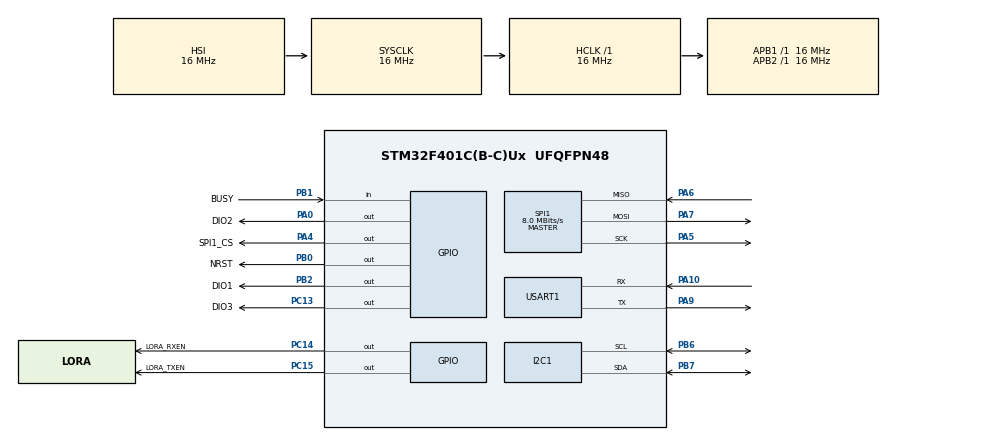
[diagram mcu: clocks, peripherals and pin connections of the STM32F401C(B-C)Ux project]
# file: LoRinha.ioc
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Mcu.Family=STM32F4
Mcu.Name=STM32F401C(B-C)Ux
Mcu.Package=UFQFPN48
NVIC.PriorityGroup=NVIC_PRIORITYGROUP_4
PA0-WKUP.GPIO_Label=DIO2
PA0-WKUP.Signal=GPIO_Output
PA10.Mode=Asynchronous
PA10.Signal=USART1_RX
PA4.GPIO_Label=SPI1_CS
PA4.Signal=GPIO_Output
PA5.Mode=Full_Duplex_Master
PA5.Signal=SPI1_SCK
PA6.Mode=Full_Duplex_Master
PA6.Signal=SPI1_MISO
PA7.Mode=Full_Duplex_Master
PA7.Signal=SPI1_MOSI
PA9.Mode=Asynchronous
PA9.Signal=USART1_TX
PB0.GPIO_Label=NRST
PB0.Signal=GPIO_Output
PB1.GPIO_Label=BUSY
PB1.Signal=GPIO_Input
PB2.GPIO_Label=DIO1
PB2.Signal=GPIO_Output
PB6.Mode=I2C
PB6.Signal=I2C1_SCL
PB7.Mode=I2C
PB7.Signal=I2C1_SDA
PC13-ANTI_TAMP.GPIO_Label=DIO3
PC13-ANTI_TAMP.Signal=GPIO_Output
PC14-OSC32_IN.GPIO_Label=LORA_RXEN
PC14-OSC32_IN.Signal=GPIO_Output
PC15-OSC32_OUT.GPIO_Label=LORA_TXEN
PC15-OSC32_OUT.Signal=GPIO_Output
ProjectManager.HeapSize=0x200
ProjectManager.StackSize=0x400
ProjectManager.TargetToolchain=STM32CubeIDE
RCC.AHBFreq_Value=16000000
RCC.APB1Freq_Value=16000000
RCC.APB2Freq_Value=16000000
RCC.CortexFreq_Value=16000000
RCC.HSE_VALUE=25000000
RCC.HSI_VALUE=16000000
RCC.LSE_VALUE=32768
RCC.SYSCLKFreq_VALUE=16000000
RCC.VCOOutputFreq_Value=192000000
SPI1.CalculateBaudRate=8.0 MBits/s
SPI1.Direction=SPI_DIRECTION_2LINES
SPI1.Mode=SPI_MODE_MASTER
SPI1.VirtualType=VM_MASTER
USART1.VirtualMode=VM_ASYNC
board=custom

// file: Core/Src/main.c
/* USER CODE BEGIN Header */
/**
  ******************************************************************************
  * @file           : main.c
  * @brief          : Main program body
  ******************************************************************************
  * @attention
  *
  * Copyright (c) 2024 STMicroelectronics.
  * All rights reserved.
  *
  * This software is licensed under terms that can be found in the LICENSE file
  * in the root directory of this software component.
  * If no LICENSE file comes with this software, it is provided AS-IS.
  *
  ******************************************************************************
  */
/* USER CODE END Header */
#include "main.h"

#include "driver_llcc68_lora.h"

I2C_HandleTypeDef hi2c1;

SPI_HandleTypeDef hspi1;

UART_HandleTypeDef huart1;

/* USER CODE BEGIN PV */
uint8_t (*g_gpio_irq)(void) = NULL;
uint8_t res;
/* USER CODE END PV */

void SystemClock_Config(void);
static void MX_GPIO_Init(void);
static void MX_I2C1_Init(void);
static void MX_SPI1_Init(void);
static void MX_USART1_UART_Init(void);
/* USER CODE BEGIN PFP */
static uint8_t gs_rx_done;
static void a_callback(uint16_t type, uint8_t *buf, uint16_t len)
{
    switch (type)
    {
        case LLCC68_IRQ_TX_DONE :
        {
            llcc68_interface_debug_print("llcc68: irq tx done.\n");

            break;
        }
        case LLCC68_IRQ_RX_DONE :
        {
            uint16_t i;
            llcc68_bool_t enable;
            float rssi;
            float snr;

            llcc68_interface_debug_print("llcc68: irq rx done.\n");

            /* get the status */
            if (llcc68_lora_get_status((float *)&rssi, (float *)&snr) != 0)
            {
                return;
            }
            llcc68_interface_debug_print("llcc68: rssi is %0.1f.\n", rssi);
            llcc68_interface_debug_print("llcc68: snr is %0.2f.\n", snr);

            /* check the error */
            if (llcc68_lora_check_packet_error(&enable) != 0)
            {
                return;
            }
            if ((enable == LLCC68_BOOL_FALSE) && len)
            {
                for (i = 0; i < len; i++)
                {
                    llcc68_interface_debug_print("%c", buf[i]);
                }
                llcc68_interface_debug_print("\n");
                gs_rx_done = 1;
            }

            break;
        }
        case LLCC68_IRQ_PREAMBLE_DETECTED :
        {
            llcc68_interface_debug_print("llcc68: irq preamble detected.\n");

            break;
        }
        case LLCC68_IRQ_SYNC_WORD_VALID :
        {
            llcc68_interface_debug_print("llcc68: irq valid sync word detected.\n");

            break;
        }
        case LLCC68_IRQ_HEADER_VALID :
        {
            llcc68_interface_debug_print("llcc68: irq valid header.\n");

            break;
        }
        case LLCC68_IRQ_HEADER_ERR :
        {
            llcc68_interface_debug_print("llcc68: irq header error.\n");

            break;
        }
        case LLCC68_IRQ_CRC_ERR :
        {
            llcc68_interface_debug_print("llcc68: irq crc error.\n");

            break;
        }
        case LLCC68_IRQ_CAD_DONE :
        {
            llcc68_interface_debug_print("llcc68: irq cad done.\n");

            break;
        }
        case LLCC68_IRQ_CAD_DETECTED :
        {
            llcc68_interface_debug_print("llcc68: irq cad detected.\n");

            break;
        }
        case LLCC68_IRQ_TIMEOUT :
        {
            llcc68_interface_debug_print("llcc68: irq timeout.\n");

            break;
        }
        default :
        {
            break;
        }
    }

}
/* USER CODE END PFP */

/* USER CODE BEGIN 0 */
uint8_t TX_Data[] = "Funciona c4ra1h0";
// teoricamente essa 'TX_Data' é pra ser a variável a ser enviada.
/* USER CODE END 0 */

int main(void)
{

  /* USER CODE BEGIN 1 */

/* gpio init */
res = gpio_interrupt_init();
if (res != 0)
{
    return 1;
}
g_gpio_irq = llcc68_lora_irq_handler;

/* lora init */
res = llcc68_lora_init(a_callback);
if (res != 0)
{
    (void)gpio_interrupt_deinit();
    g_gpio_irq = NULL;

    return 1;

}

/* set sent mode */
res = llcc68_lora_set_sent_mode();
if (res != 0)
{
    (void)llcc68_lora_deinit();
    (void)gpio_interrupt_deinit();
    g_gpio_irq = NULL;

    return 1;

}

llcc68_interface_debug_print("llcc68: sent %s.\n", "123");

/* sent data */
res = llcc68_lora_sent((uint8_t *)"123", strlen("123"));
if (res != 0)
{
    (void)llcc68_lora_deinit();
    (void)gpio_interrupt_deinit();
    g_gpio_irq = NULL;

    return 1;

}

/* deinit */
res = llcc68_lora_deinit();
if (res != 0)
{
    (void)gpio_interrupt_deinit();
    g_gpio_irq = NULL;

    return 1;

}
(void)gpio_interrupt_deinit();
g_gpio_irq = NULL;

return 0;
  /* USER CODE END 1 */

  /* MCU Configuration--------------------------------------------------------*/

  /* Reset of all peripherals, Initializes the Flash interface and the Systick. */
  HAL_Init();

  /* Configure the system clock */
  SystemClock_Config();

  /* Initialize all configured peripherals */
  MX_GPIO_Init();
  MX_I2C1_Init();
  MX_SPI1_Init();
  MX_USART1_UART_Init();
  /* USER CODE BEGIN 2 */
  HAL_SPI_Transmit_DMA(&hspi1, TX_Data, sizeof(TX_Data));
  //HAL API melhor aplicável ao projeto responsável pela transmissão SPI.
  /* USER CODE END 2 */

  /* Infinite loop */
  while (1)
  {

  }
}

void SystemClock_Config(void)
{
  RCC_OscInitTypeDef RCC_OscInitStruct = {0};
  RCC_ClkInitTypeDef RCC_ClkInitStruct = {0};

  /** Configure the main internal regulator output voltage
  */
  __HAL_RCC_PWR_CLK_ENABLE();
  __HAL_PWR_VOLTAGESCALING_CONFIG(PWR_REGULATOR_VOLTAGE_SCALE2);

  /** Initializes the RCC Oscillators according to the specified parameters
  * in the RCC_OscInitTypeDef structure.
  */
  RCC_OscInitStruct.OscillatorType = RCC_OSCILLATORTYPE_HSI;
  RCC_OscInitStruct.HSIState = RCC_HSI_ON;
  RCC_OscInitStruct.HSICalibrationValue = RCC_HSICALIBRATION_DEFAULT;
  RCC_OscInitStruct.PLL.PLLState = RCC_PLL_NONE;
  if (HAL_RCC_OscConfig(&RCC_OscInitStruct) != HAL_OK)
  {
    Error_Handler();
  }

  /** Initializes the CPU, AHB and APB buses clocks
  */
  RCC_ClkInitStruct.ClockType = RCC_CLOCKTYPE_HCLK|RCC_CLOCKTYPE_SYSCLK
                              |RCC_CLOCKTYPE_PCLK1|RCC_CLOCKTYPE_PCLK2;
  RCC_ClkInitStruct.SYSCLKSource = RCC_SYSCLKSOURCE_HSI;
  RCC_ClkInitStruct.AHBCLKDivider = RCC_SYSCLK_DIV1;
  RCC_ClkInitStruct.APB1CLKDivider = RCC_HCLK_DIV1;
  RCC_ClkInitStruct.APB2CLKDivider = RCC_HCLK_DIV1;

  if (HAL_RCC_ClockConfig(&RCC_ClkInitStruct, FLASH_LATENCY_0) != HAL_OK)
  {
    Error_Handler();
  }
}

static void MX_I2C1_Init(void)
{

  hi2c1.Instance = I2C1;
  hi2c1.Init.ClockSpeed = 100000;
  hi2c1.Init.DutyCycle = I2C_DUTYCYCLE_2;
  hi2c1.Init.OwnAddress1 = 0;
  hi2c1.Init.AddressingMode = I2C_ADDRESSINGMODE_7BIT;
  hi2c1.Init.DualAddressMode = I2C_DUALADDRESS_DISABLE;
  hi2c1.Init.OwnAddress2 = 0;
  hi2c1.Init.GeneralCallMode = I2C_GENERALCALL_DISABLE;
  hi2c1.Init.NoStretchMode = I2C_NOSTRETCH_DISABLE;
  if (HAL_I2C_Init(&hi2c1) != HAL_OK)
  {
    Error_Handler();
  }

}

static void MX_SPI1_Init(void)
{

  /* SPI1 parameter configuration*/
  hspi1.Instance = SPI1;
  hspi1.Init.Mode = SPI_MODE_MASTER;
  hspi1.Init.Direction = SPI_DIRECTION_2LINES;
  hspi1.Init.DataSize = SPI_DATASIZE_8BIT;
  hspi1.Init.CLKPolarity = SPI_POLARITY_LOW;
  hspi1.Init.CLKPhase = SPI_PHASE_1EDGE;
  hspi1.Init.NSS = SPI_NSS_SOFT;
  hspi1.Init.BaudRatePrescaler = SPI_BAUDRATEPRESCALER_2;
  hspi1.Init.FirstBit = SPI_FIRSTBIT_MSB;
  hspi1.Init.TIMode = SPI_TIMODE_DISABLE;
  hspi1.Init.CRCCalculation = SPI_CRCCALCULATION_DISABLE;
  hspi1.Init.CRCPolynomial = 10;
  if (HAL_SPI_Init(&hspi1) != HAL_OK)
  {
    Error_Handler();
  }

}

static void MX_USART1_UART_Init(void)
{

  huart1.Instance = USART1;
  huart1.Init.BaudRate = 115200;
  huart1.Init.WordLength = UART_WORDLENGTH_8B;
  huart1.Init.StopBits = UART_STOPBITS_1;
  huart1.Init.Parity = UART_PARITY_NONE;
  huart1.Init.Mode = UART_MODE_TX_RX;
  huart1.Init.HwFlowCtl = UART_HWCONTROL_NONE;
  huart1.Init.OverSampling = UART_OVERSAMPLING_16;
  if (HAL_UART_Init(&huart1) != HAL_OK)
  {
    Error_Handler();
  }

}

static void MX_GPIO_Init(void)
{
  GPIO_InitTypeDef GPIO_InitStruct = {0};

  /* GPIO Ports Clock Enable */
  __HAL_RCC_GPIOC_CLK_ENABLE();
  __HAL_RCC_GPIOA_CLK_ENABLE();
  __HAL_RCC_GPIOB_CLK_ENABLE();

  /*Configure GPIO pin Output Level */
  HAL_GPIO_WritePin(GPIOC, DIO3_Pin|LORA_RXEN_Pin|LORA_TXEN_Pin, GPIO_PIN_RESET);

  /*Configure GPIO pin Output Level */
  HAL_GPIO_WritePin(GPIOA, DIO2_Pin|SPI1_CS_Pin, GPIO_PIN_RESET);

  /*Configure GPIO pin Output Level */
  HAL_GPIO_WritePin(GPIOB, NRST_Pin|DIO1_Pin, GPIO_PIN_RESET);

  /*Configure GPIO pins : DIO3_Pin LORA_RXEN_Pin LORA_TXEN_Pin */
  GPIO_InitStruct.Pin = DIO3_Pin|LORA_RXEN_Pin|LORA_TXEN_Pin;
  GPIO_InitStruct.Mode = GPIO_MODE_OUTPUT_PP;
  GPIO_InitStruct.Pull = GPIO_NOPULL;
  GPIO_InitStruct.Speed = GPIO_SPEED_FREQ_LOW;
  HAL_GPIO_Init(GPIOC, &GPIO_InitStruct);

  /*Configure GPIO pins : DIO2_Pin SPI1_CS_Pin */
  GPIO_InitStruct.Pin = DIO2_Pin|SPI1_CS_Pin;
  GPIO_InitStruct.Mode = GPIO_MODE_OUTPUT_PP;
  GPIO_InitStruct.Pull = GPIO_NOPULL;
  GPIO_InitStruct.Speed = GPIO_SPEED_FREQ_LOW;
  HAL_GPIO_Init(GPIOA, &GPIO_InitStruct);

  /*Configure GPIO pins : NRST_Pin DIO1_Pin */
  GPIO_InitStruct.Pin = NRST_Pin|DIO1_Pin;
  GPIO_InitStruct.Mode = GPIO_MODE_OUTPUT_PP;
  GPIO_InitStruct.Pull = GPIO_NOPULL;
  GPIO_InitStruct.Speed = GPIO_SPEED_FREQ_LOW;
  HAL_GPIO_Init(GPIOB, &GPIO_InitStruct);

  /*Configure GPIO pin : BUSY_Pin */
  GPIO_InitStruct.Pin = BUSY_Pin;
  GPIO_InitStruct.Mode = GPIO_MODE_INPUT;
  GPIO_InitStruct.Pull = GPIO_NOPULL;
  HAL_GPIO_Init(BUSY_GPIO_Port, &GPIO_InitStruct);

}

/* USER CODE BEGIN 4 */
void HAL_SPI_TxCpltCallback(SPI_HandleTypeDef * hspi)
{
    // Se a mensagem 'TX_Data' foi enviada...
	// ... Essa função aqui, teoricamente será chamada e fará alguma coisa sinalizando que a mensagem foi enviada ...
}
/* USER CODE END 4 */

void Error_Handler(void)
{
  __disable_irq();
  while (1)
  {
  }
}
